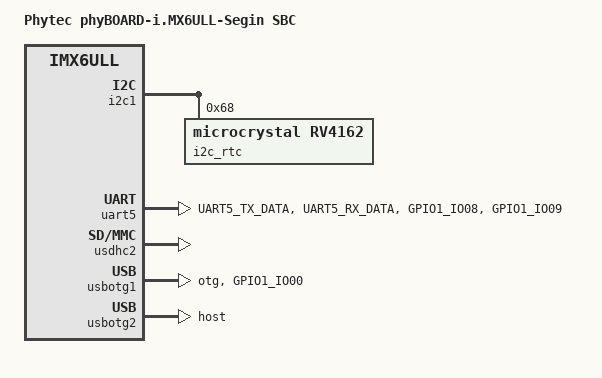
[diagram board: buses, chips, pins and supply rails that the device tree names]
// SPDX-License-Identifier: GPL-2.0+
/*
 * Copyright (C) 2019 Parthiban Nallathambi <parthitce@gmail.com>
 */

/dts-v1/;

#include "imx6ull.dtsi"
#include "pcl063-common.dtsi"

/ {
	model = "Phytec phyBOARD-i.MX6ULL-Segin SBC";
	compatible = "phytec,phyboard-imx6ull-segin", "phytec,imx6ull-pcl063",
		     "fsl,imx6ull";
};

&i2c1 {
	i2c_rtc: rtc@68 {
		compatible = "microcrystal,rv4162";
		reg = <0x68>;
		status = "okay";
	};
};

&uart5 {
	pinctrl-names = "default";
	pinctrl-0 = <&pinctrl_uart5>;
	uart-has-rtscts;
	status = "okay";
};

&usdhc2 {
	status = "okay";
};

&usbotg1 {
	pinctrl-names = "default";
	pinctrl-0 = <&pinctrl_usb_otg1_id>;
	dr_mode = "otg";
	srp-disable;
	hnp-disable;
	adp-disable;
	status = "okay";
};

&usbotg2 {
	dr_mode = "host";
	disable-over-current;
	status = "okay";
};

&iomuxc {
	pinctrl-names = "default";

	pinctrl_uart5: uart5grp {
		fsl,pins = <
			MX6UL_PAD_UART5_TX_DATA__UART5_DCE_TX	0x1b0b1
			MX6UL_PAD_UART5_RX_DATA__UART5_DCE_RX	0x1b0b1
			MX6UL_PAD_GPIO1_IO08__UART5_DCE_RTS	0x1b0b1
			MX6UL_PAD_GPIO1_IO09__UART5_DCE_CTS	0x1b0b1
		>;
	};

	pinctrl_usb_otg1_id: usbotg1idgrp {
		fsl,pins = <
			MX6UL_PAD_GPIO1_IO00__ANATOP_OTG1_ID    0x17059
		>;
	};

};
